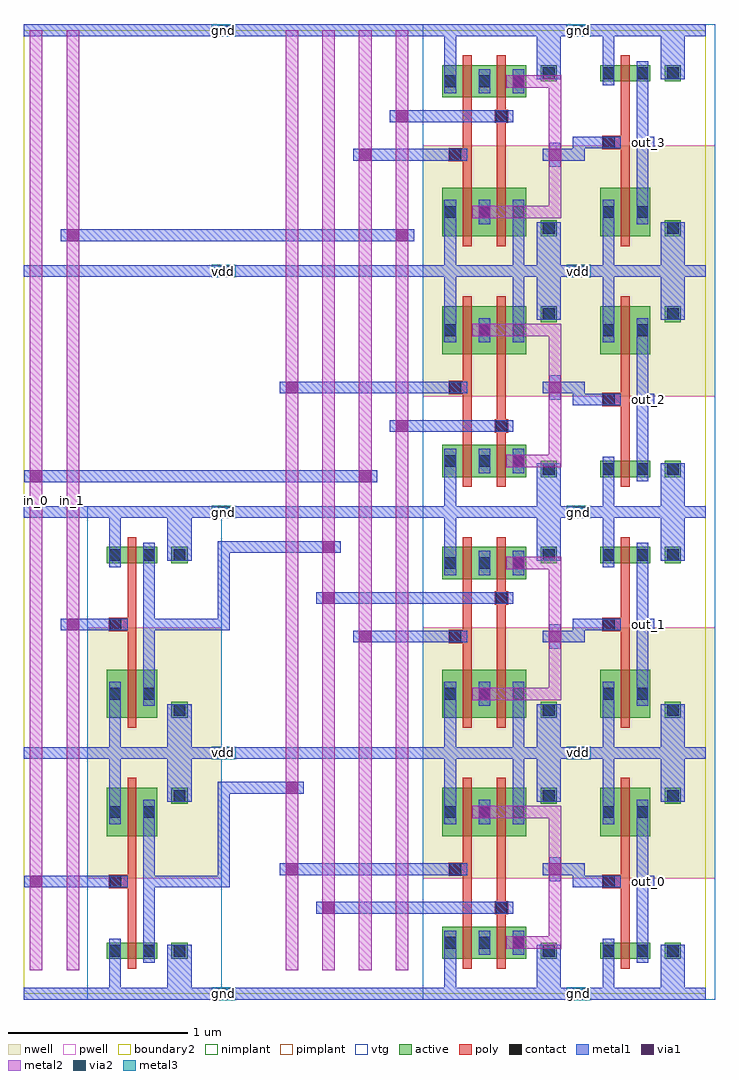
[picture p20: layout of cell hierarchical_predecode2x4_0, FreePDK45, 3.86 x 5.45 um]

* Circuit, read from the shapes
.subckt hierarchical_predecode2x4_0 gnd in_0 in_1 out_0 out_1 out_2 out_3 vdd
M1 pnand2_0_6/A in_0 gnd gnd nfet w=0.09u l=0.05u
M2 pnand2_0_6/B in_1 gnd gnd nfet w=0.09u l=0.05u
M3 pnand2_0_6/nmos_m1_w0_180_a_p_2/D pnand2_0_6/A gnd gnd nfet w=0.18u l=0.05u
M4 pnand2_0_7/nmos_m1_w0_180_a_p_2/D in_0 gnd gnd nfet w=0.18u l=0.05u
M5 pnand2_0_8/nmos_m1_w0_180_a_p_2/D pnand2_0_6/A gnd gnd nfet w=0.18u l=0.05u
M6 pnand2_0_9/nmos_m1_w0_180_a_p_2/D in_0 gnd gnd nfet w=0.18u l=0.05u
M7 pinv_0_2/A pnand2_0_6/B pnand2_0_6/nmos_m1_w0_180_a_p_2/D gnd nfet w=0.18u l=0.05u
M8 pinv_0_3/A pnand2_0_6/B pnand2_0_7/nmos_m1_w0_180_a_p_2/D gnd nfet w=0.18u l=0.05u
M9 pinv_0_4/A in_1 pnand2_0_8/nmos_m1_w0_180_a_p_2/D gnd nfet w=0.18u l=0.05u
M10 pinv_0_5/A in_1 pnand2_0_9/nmos_m1_w0_180_a_p_2/D gnd nfet w=0.18u l=0.05u
M11 out_0 pinv_0_2/A gnd gnd nfet w=0.09u l=0.05u
M12 out_1 pinv_0_3/A gnd gnd nfet w=0.09u l=0.05u
M13 out_2 pinv_0_4/A gnd gnd nfet w=0.09u l=0.05u
M14 out_3 pinv_0_5/A gnd gnd nfet w=0.09u l=0.05u
M15 pnand2_0_6/A in_0 vdd vdd pfet w=0.27u l=0.05u
M16 pnand2_0_6/B in_1 vdd vdd pfet w=0.27u l=0.05u
M17 pinv_0_2/A pnand2_0_6/A vdd vdd pfet w=0.27u l=0.05u
M18 pinv_0_3/A in_0 vdd vdd pfet w=0.27u l=0.05u
M19 pinv_0_4/A pnand2_0_6/A vdd vdd pfet w=0.27u l=0.05u
M20 pinv_0_5/A in_0 vdd vdd pfet w=0.27u l=0.05u
M21 vdd pnand2_0_6/B pinv_0_2/A vdd pfet w=0.27u l=0.05u
M22 vdd pnand2_0_6/B pinv_0_3/A vdd pfet w=0.27u l=0.05u
M23 vdd in_1 pinv_0_4/A vdd pfet w=0.27u l=0.05u
M24 vdd in_1 pinv_0_5/A vdd pfet w=0.27u l=0.05u
M25 out_0 pinv_0_2/A vdd vdd pfet w=0.27u l=0.05u
M26 out_1 pinv_0_3/A vdd vdd pfet w=0.27u l=0.05u
M27 out_2 pinv_0_4/A vdd vdd pfet w=0.27u l=0.05u
M28 out_3 pinv_0_5/A vdd vdd pfet w=0.27u l=0.05u
.ends

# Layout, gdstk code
import gdstk
lib = gdstk.Library(unit=1e-6, precision=5e-10)
def R(c, l, rs):  # rectangles x0, y0, x1, y1
    for r in rs: c.add(gdstk.rectangle(r[:2], r[2:], *l))
def A(c, l, x, y, w, h, nx, ny, dx, dy):  # array of equal rectangles
    R(c, l, [(x+i*dx, y+j*dy, x+i*dx+w, y+j*dy+h) for i in range(nx) for j in range(ny)])
active = (1, 0)
pwell = (2, 0)
nwell = (3, 0)
nimplant = (4, 0)
pimplant = (5, 0)
vtg = (6, 0)
poly = (9, 0)
contact = (10, 0)
metal1 = (11, 0)
via1 = (12, 0)
metal2 = (13, 0)
via2 = (14, 0)
metal3 = (15, 0)
boundary2 = (239, 0)

contact_11 = lib.new_cell('contact_11')
R(contact_11, active, [(0,0.0225,0.09,0.1125)])
R(contact_11, nwell, [(-0.055,-0.0325,0.145,0.1675)])
R(contact_11, pimplant, [(0,0.0225,0.09,0.1125)])
R(contact_11, contact, [(0.0125,0.035,0.0775,0.1)])
R(contact_11, metal1, [(0.0125,0,0.0775,0.135)])

pmos_m1_w0_270_a_p = lib.new_cell('pmos_m1_w0_270_a_p')
R(pmos_m1_w0_270_a_p, active, [(0,0,0.28,0.27)])
R(pmos_m1_w0_270_a_p, nwell, [(-0.055,-0.055,0.335,0.325)])
R(pmos_m1_w0_270_a_p, pimplant, [(0,0,0.28,0.27)])
R(pmos_m1_w0_270_a_p, vtg, [(-0.055,-0.055,0.335,0.325)])
R(pmos_m1_w0_270_a_p, poly, [(0.115,-0.055,0.165,0.325), (0.115,-0.055,0.165,0.325)])
R(pmos_m1_w0_270_a_p, metal1, [(0.0125,0.0675,0.0775,0.2025), (0.2025,0.0675,0.2675,0.2025)])
R(pmos_m1_w0_270_a_p, boundary2, [(-0.055,-0.055,0.335,0.325)])
pmos_m1_w0_270_a_p.add(gdstk.Reference(contact_11, (0,0.0675)))
pmos_m1_w0_270_a_p.add(gdstk.Reference(contact_11, (0.19,0.0675)))
pmos_m1_w0_270_a_p.add(gdstk.Label('G', (0.14,0.135), layer=9, texttype=0))
pmos_m1_w0_270_a_p.add(gdstk.Label('S', (0.045,0.135), layer=11, texttype=0))
pmos_m1_w0_270_a_p.add(gdstk.Label('D', (0.235,0.135), layer=11, texttype=0))

contact_16 = lib.new_cell('contact_16')
R(contact_16, active, [(0,0.0225,0.09,0.1125)])
R(contact_16, pwell, [(-0.055,-0.0325,0.145,0.1675)])
R(contact_16, nimplant, [(0,0.0225,0.09,0.1125)])
R(contact_16, contact, [(0.0125,0.035,0.0775,0.1)])
R(contact_16, metal1, [(0.0125,0,0.0775,0.135)])

nmos_m1_w0_090_a_p = lib.new_cell('nmos_m1_w0_090_a_p')
R(nmos_m1_w0_090_a_p, active, [(0,0,0.28,0.09)])
R(nmos_m1_w0_090_a_p, pwell, [(-0.055,-0.055,0.335,0.145)])
R(nmos_m1_w0_090_a_p, nimplant, [(0,0,0.28,0.09)])
R(nmos_m1_w0_090_a_p, vtg, [(-0.055,-0.055,0.335,0.145)])
R(nmos_m1_w0_090_a_p, poly, [(0.115,-0.055,0.165,0.145), (0.115,-0.055,0.165,0.145)])
R(nmos_m1_w0_090_a_p, metal1, [(0.0125,-0.0225,0.0775,0.1125), (0.2025,-0.0225,0.2675,0.1125)])
R(nmos_m1_w0_090_a_p, boundary2, [(-0.055,-0.055,0.335,0.145)])
nmos_m1_w0_090_a_p.add(gdstk.Reference(contact_16, (0,-0.0225)))
nmos_m1_w0_090_a_p.add(gdstk.Reference(contact_16, (0.19,-0.0225)))
nmos_m1_w0_090_a_p.add(gdstk.Label('G', (0.14,0.045), layer=9, texttype=0))
nmos_m1_w0_090_a_p.add(gdstk.Label('S', (0.045,0.045), layer=11, texttype=0))
nmos_m1_w0_090_a_p.add(gdstk.Label('D', (0.235,0.045), layer=11, texttype=0))

contact_13 = lib.new_cell('contact_13')
R(contact_13, active, [(0.0225,0,0.1125,0.09)])
R(contact_13, nwell, [(-0.0325,-0.055,0.1675,0.145)])
R(contact_13, nimplant, [(0.0225,0,0.1125,0.09)])
R(contact_13, contact, [(0.035,0.0125,0.1,0.0775)])
R(contact_13, metal1, [(0,0.0125,0.135,0.0775)])

contact_17 = lib.new_cell('contact_17')
R(contact_17, active, [(0.0225,0,0.1125,0.09)])
R(contact_17, pwell, [(-0.0325,-0.055,0.1675,0.145)])
R(contact_17, pimplant, [(0.0225,0,0.1125,0.09)])
R(contact_17, contact, [(0.035,0.0125,0.1,0.0775)])
R(contact_17, metal1, [(0,0.0125,0.135,0.0775)])

contact_12 = lib.new_cell('contact_12')
R(contact_12, poly, [(0.03,0,0.105,0.075)])
R(contact_12, contact, [(0.035,0.005,0.1,0.07)])
R(contact_12, metal1, [(0,0.005,0.135,0.07)])

pinv_0 = lib.new_cell('pinv_0')
R(pinv_0, pwell, [(-0.055,-0.0325,0.6975,0.645)])
R(pinv_0, nwell, [(-0.055,0.645,0.6975,1.3775)])
R(pinv_0, vtg, [(-0.055,-0.0325,0.6975,0.645), (-0.055,0.645,0.6975,1.3775)])
R(pinv_0, poly, [(0.17,0.34,0.22,0.825), (0.1025,0.59,0.17,0.665)])
R(pinv_0, metal1, [(0,-0.0325,0.6425,0.0325), (0.0675,-0.0325,0.1325,0.1725), (0.3925,0,0.5275,0.24), (0.2575,0.1725,0.3225,1.0825), (0.035,0.595,0.17,0.66), (0.29,0.595,0.355,0.66), (0.0675,0.9475,0.1325,1.3775), (0.3925,1.105,0.5275,1.345), (0,1.3125,0.6425,1.3775)])
R(pinv_0, boundary2, [(0,0,0.6425,1.345)])
pinv_0.add(gdstk.Reference(pmos_m1_w0_270_a_p, (0.055,0.88)))
pinv_0.add(gdstk.Reference(nmos_m1_w0_090_a_p, (0.055,0.195)))
pinv_0.add(gdstk.Reference(contact_13, (0.3925,1.06)))
pinv_0.add(gdstk.Reference(contact_17, (0.3925,0.195)))
pinv_0.add(gdstk.Reference(contact_12, (0.035,0.59)))
pinv_0.add(gdstk.Label('gnd', (0.321,0), layer=11, texttype=0))
pinv_0.add(gdstk.Label('vdd', (0.321,1.345), layer=11, texttype=0))
pinv_0.add(gdstk.Label('A', (0.1025,0.6275), layer=11, texttype=0))
pinv_0.add(gdstk.Label('Z', (0.3225,0.6275), layer=11, texttype=0))

nmos_m1_w0_180_a_p = lib.new_cell('nmos_m1_w0_180_a_p')
R(nmos_m1_w0_180_a_p, active, [(0,0,0.28,0.18)])
R(nmos_m1_w0_180_a_p, pwell, [(-0.055,-0.055,0.335,0.235)])
R(nmos_m1_w0_180_a_p, nimplant, [(0,0,0.28,0.18)])
R(nmos_m1_w0_180_a_p, vtg, [(-0.055,-0.055,0.335,0.235)])
R(nmos_m1_w0_180_a_p, poly, [(0.115,-0.055,0.165,0.235), (0.115,-0.055,0.165,0.235)])
R(nmos_m1_w0_180_a_p, metal1, [(0.0125,0.0225,0.0775,0.1575), (0.2025,0.0225,0.2675,0.1575)])
R(nmos_m1_w0_180_a_p, boundary2, [(-0.055,-0.055,0.335,0.235)])
nmos_m1_w0_180_a_p.add(gdstk.Reference(contact_16, (0,0.0225)))
nmos_m1_w0_180_a_p.add(gdstk.Reference(contact_16, (0.19,0.0225)))
nmos_m1_w0_180_a_p.add(gdstk.Label('G', (0.14,0.09), layer=9, texttype=0))
nmos_m1_w0_180_a_p.add(gdstk.Label('S', (0.045,0.09), layer=11, texttype=0))
nmos_m1_w0_180_a_p.add(gdstk.Label('D', (0.235,0.09), layer=11, texttype=0))

contact_20 = lib.new_cell('contact_20')
R(contact_20, metal1, [(0.035,0,0.1,0.135)])
R(contact_20, via1, [(0.035,0.035,0.1,0.1)])
R(contact_20, metal2, [(0,0.0325,0.135,0.1025)])

contact_19 = lib.new_cell('contact_19')
R(contact_19, metal1, [(0,0.035,0.135,0.1)])
R(contact_19, via1, [(0.035,0.035,0.1,0.1)])
R(contact_19, metal2, [(0.0325,0,0.1025,0.135)])

pnand2_0 = lib.new_cell('pnand2_0')
R(pnand2_0, pwell, [(-0.055,-0.0325,0.9375,0.645)])
R(pnand2_0, nwell, [(-0.055,0.645,0.9375,1.3775)])
R(pnand2_0, vtg, [(-0.055,-0.0325,0.9375,0.645), (-0.055,0.645,0.9375,1.3775)])
R(pnand2_0, poly, [(0.17,0.43,0.22,0.825), (0.36,0.43,0.41,0.825), (0.36,0.4425,0.385,0.5175), (0.1275,0.6575,0.17,0.7325)])
R(pnand2_0, metal1, [(0,-0.0325,0.8825,0.0325), (0.0675,-0.0325,0.1325,0.2175), (0.5825,0,0.7175,0.24), (0.3175,0.4475,0.4525,0.5125), (0.6525,0.6275,0.7175,0.7625), (0.06,0.6625,0.195,0.7275), (0.0675,0.9475,0.1325,1.3775), (0.4475,0.9475,0.5125,1.3775), (0.5825,1.105,0.7175,1.345), (0,1.3125,0.8825,1.3775)])
R(pnand2_0, metal2, [(0.48,0.25,0.685,0.32), (0.65,0.25,0.72,0.32), (0.65,0.285,0.72,0.695), (0.65,0.695,0.72,1.015), (0.29,0.98,0.685,1.05), (0.65,0.98,0.72,1.05)])
R(pnand2_0, boundary2, [(0,0,0.8825,1.345)])
pnand2_0.add(gdstk.Reference(pmos_m1_w0_270_a_p, (0.055,0.88)))
pnand2_0.add(gdstk.Reference(pmos_m1_w0_270_a_p, (0.245,0.88)))
pnand2_0.add(gdstk.Reference(nmos_m1_w0_180_a_p, (0.055,0.195)))
pnand2_0.add(gdstk.Reference(nmos_m1_w0_180_a_p, (0.245,0.195)))
pnand2_0.add(gdstk.Reference(contact_13, (0.5825,1.06)))
pnand2_0.add(gdstk.Reference(contact_17, (0.5825,0.195)))
pnand2_0.add(gdstk.Reference(contact_12, (0.3175,0.4425)))
pnand2_0.add(gdstk.Reference(contact_12, (0.06,0.6575)))
pnand2_0.add(gdstk.Reference(contact_20, (0.2225,0.9475)))
pnand2_0.add(gdstk.Reference(contact_20, (0.4125,0.2175)))
pnand2_0.add(gdstk.Reference(contact_19, (0.6175,0.6275)))
pnand2_0.add(gdstk.Label('gnd', (0.4415,0), layer=11, texttype=0))
pnand2_0.add(gdstk.Label('vdd', (0.4415,1.345), layer=11, texttype=0))
pnand2_0.add(gdstk.Label('B', (0.385,0.48), layer=11, texttype=0))
pnand2_0.add(gdstk.Label('A', (0.1275,0.695), layer=11, texttype=0))
pnand2_0.add(gdstk.Label('Z', (0.685,0.695), layer=11, texttype=0))

contact_7 = lib.new_cell('contact_7')
R(contact_7, metal1, [(0,0.0025,0.135,0.0675)])
R(contact_7, via1, [(0.035,0.0025,0.1,0.0675)])
R(contact_7, metal2, [(0,0,0.135,0.07)])

contact_8 = lib.new_cell('contact_8')
R(contact_8, metal2, [(0,0,0.135,0.07)])
R(contact_8, via2, [(0.035,0.0025,0.1,0.0675)])
R(contact_8, metal3, [(0,0,0.135,0.07)])

hierarchical_predecode2x = lib.new_cell('hierarchical_predecode2x4_0')
R(hierarchical_predecode2x, metal1, [(0,-0.0325,3.8075,0.0325), (1.7025,0.4475,2.6,0.5125), (0.07,0.595,0.445,0.66), (0.765,0.595,1.1175,0.66), (1.085,0.595,1.15,0.66), (3.0675,0.595,3.1325,0.66), (3.1,0.595,3.2,0.66), (3.455,0.595,3.52,0.66), (1.085,0.6275,1.15,1.15), (3.0675,0.6275,3.1325,0.695), (1.4975,0.6625,2.3425,0.7275), (3,0.6625,3.1,0.7275), (3.0675,0.6625,3.1325,0.7275), (1.085,1.1175,1.15,1.1825), (1.1175,1.1175,1.4975,1.1825), (0,1.3125,3.8075,1.3775), (0,1.3125,3.8075,1.3775), (1.9075,1.9625,2.3425,2.0275), (3,1.9625,3.1,2.0275), (3.0675,1.9625,3.1325,2.0275), (3.0675,1.995,3.1325,2.0625), (0.275,2.03,0.445,2.095), (0.765,2.03,1.1175,2.095), (1.085,2.03,1.15,2.095), (3.0675,2.03,3.1325,2.095), (3.1,2.03,3.2,2.095), (3.455,2.03,3.52,2.095), (1.085,2.0625,1.15,2.495), (1.7025,2.1775,2.6,2.2425), (1.085,2.4625,1.15,2.5275), (1.1175,2.4625,1.7025,2.5275), (0,2.6575,3.8075,2.7225), (0,2.6575,3.8075,2.7225), (0.07,2.8575,1.9075,2.9225), (2.1125,3.1375,2.6,3.2025), (3.0675,3.285,3.1325,3.35), (3.1,3.285,3.2,3.35), (3.455,3.285,3.52,3.35), (3.0675,3.3175,3.1325,3.385), (1.4975,3.3525,2.3425,3.4175), (3,3.3525,3.1,3.4175), (3.0675,3.3525,3.1325,3.4175), (0,4.0025,3.8075,4.0675), (0,4.0025,3.8075,4.0675), (0.275,4.2025,2.1125,4.2675), (1.9075,4.6525,2.3425,4.7175), (3,4.6525,3.1,4.7175), (3.0675,4.6525,3.1325,4.7175), (3.0675,4.685,3.1325,4.7525), (3.0675,4.72,3.1325,4.785), (3.1,4.72,3.2,4.785), (3.455,4.72,3.52,4.785), (2.1125,4.8675,2.6,4.9325), (0,5.3475,3.8075,5.4125)])
A(hierarchical_predecode2x, metal2, 1.4625, 0.13, 0.07, 5.25, 4, 1, 0.205, 0)
R(hierarchical_predecode2x, metal2, [(0.035,0.13,0.105,5.38), (0.24,0.13,0.31,5.38)])
A(hierarchical_predecode2x, metal3, 1.05, -0.035, 0.135, 0.07, 1, 5, 0, 1.345)
A(hierarchical_predecode2x, metal3, 3.0325, -0.035, 0.135, 0.07, 1, 5, 0, 1.345)
R(hierarchical_predecode2x, boundary2, [(0,0,3.8075,5.38)])
hierarchical_predecode2x.add(gdstk.Reference(pinv_0, (0.41,0)))
hierarchical_predecode2x.add(gdstk.Reference(pinv_0, (0.41,2.69), x_reflection=True))
hierarchical_predecode2x.add(gdstk.Reference(pinv_0, (3.165,0)))
hierarchical_predecode2x.add(gdstk.Reference(pinv_0, (3.165,2.69), x_reflection=True))
hierarchical_predecode2x.add(gdstk.Reference(pinv_0, (3.165,2.69)))
hierarchical_predecode2x.add(gdstk.Reference(pinv_0, (3.165,5.38), x_reflection=True))
hierarchical_predecode2x.add(gdstk.Reference(pnand2_0, (2.2825,0)))
hierarchical_predecode2x.add(gdstk.Reference(pnand2_0, (2.2825,2.69), x_reflection=True))
hierarchical_predecode2x.add(gdstk.Reference(pnand2_0, (2.2825,2.69)))
hierarchical_predecode2x.add(gdstk.Reference(pnand2_0, (2.2825,5.38), x_reflection=True))
hierarchical_predecode2x.add(gdstk.Reference(contact_19, (1.43,1.0825)))
hierarchical_predecode2x.add(gdstk.Reference(contact_19, (0.0025,0.56)))
hierarchical_predecode2x.add(gdstk.Reference(contact_19, (1.635,2.4275)))
hierarchical_predecode2x.add(gdstk.Reference(contact_19, (0.2075,1.995)))
hierarchical_predecode2x.add(gdstk.Reference(contact_19, (0.0025,2.8225)))
hierarchical_predecode2x.add(gdstk.Reference(contact_19, (1.84,2.8225)))
hierarchical_predecode2x.add(gdstk.Reference(contact_19, (0.2075,4.1675)))
hierarchical_predecode2x.add(gdstk.Reference(contact_19, (2.045,4.1675)))
hierarchical_predecode2x.add(gdstk.Reference(contact_19, (1.43,0.6275)))
hierarchical_predecode2x.add(gdstk.Reference(contact_19, (1.635,0.4125)))
hierarchical_predecode2x.add(gdstk.Reference(contact_19, (1.84,1.9275)))
hierarchical_predecode2x.add(gdstk.Reference(contact_19, (1.635,2.1425)))
hierarchical_predecode2x.add(gdstk.Reference(contact_19, (1.43,3.3175)))
hierarchical_predecode2x.add(gdstk.Reference(contact_19, (2.045,3.1025)))
hierarchical_predecode2x.add(gdstk.Reference(contact_19, (1.84,4.6175)))
hierarchical_predecode2x.add(gdstk.Reference(contact_19, (2.045,4.8325)))
hierarchical_predecode2x.add(gdstk.Reference(contact_7, (1.05,1.31)))
hierarchical_predecode2x.add(gdstk.Reference(contact_8, (1.05,1.31)))
hierarchical_predecode2x.add(gdstk.Reference(contact_7, (3.0325,1.31)))
hierarchical_predecode2x.add(gdstk.Reference(contact_8, (3.0325,1.31)))
hierarchical_predecode2x.add(gdstk.Reference(contact_7, (1.05,-0.035)))
hierarchical_predecode2x.add(gdstk.Reference(contact_8, (1.05,-0.035)))
hierarchical_predecode2x.add(gdstk.Reference(contact_7, (3.0325,-0.035)))
hierarchical_predecode2x.add(gdstk.Reference(contact_8, (3.0325,-0.035)))
hierarchical_predecode2x.add(gdstk.Reference(contact_7, (1.05,1.31)))
hierarchical_predecode2x.add(gdstk.Reference(contact_8, (1.05,1.31)))
hierarchical_predecode2x.add(gdstk.Reference(contact_7, (3.0325,1.31)))
hierarchical_predecode2x.add(gdstk.Reference(contact_8, (3.0325,1.31)))
hierarchical_predecode2x.add(gdstk.Reference(contact_7, (1.05,2.655)))
hierarchical_predecode2x.add(gdstk.Reference(contact_8, (1.05,2.655)))
hierarchical_predecode2x.add(gdstk.Reference(contact_7, (3.0325,2.655)))
hierarchical_predecode2x.add(gdstk.Reference(contact_8, (3.0325,2.655)))
hierarchical_predecode2x.add(gdstk.Reference(contact_7, (1.05,4)))
hierarchical_predecode2x.add(gdstk.Reference(contact_8, (1.05,4)))
hierarchical_predecode2x.add(gdstk.Reference(contact_7, (3.0325,4)))
hierarchical_predecode2x.add(gdstk.Reference(contact_8, (3.0325,4)))
hierarchical_predecode2x.add(gdstk.Reference(contact_7, (1.05,2.655)))
hierarchical_predecode2x.add(gdstk.Reference(contact_8, (1.05,2.655)))
hierarchical_predecode2x.add(gdstk.Reference(contact_7, (3.0325,2.655)))
hierarchical_predecode2x.add(gdstk.Reference(contact_8, (3.0325,2.655)))
hierarchical_predecode2x.add(gdstk.Reference(contact_7, (1.05,4)))
hierarchical_predecode2x.add(gdstk.Reference(contact_8, (1.05,4)))
hierarchical_predecode2x.add(gdstk.Reference(contact_7, (3.0325,4)))
hierarchical_predecode2x.add(gdstk.Reference(contact_8, (3.0325,4)))
hierarchical_predecode2x.add(gdstk.Reference(contact_7, (1.05,5.345)))
hierarchical_predecode2x.add(gdstk.Reference(contact_8, (1.05,5.345)))
hierarchical_predecode2x.add(gdstk.Reference(contact_7, (3.0325,5.345)))
hierarchical_predecode2x.add(gdstk.Reference(contact_8, (3.0325,5.345)))
hierarchical_predecode2x.add(gdstk.Label('in_0', (0.07,2.755), layer=13, texttype=0))
hierarchical_predecode2x.add(gdstk.Label('in_1', (0.275,2.755), layer=13, texttype=0))
hierarchical_predecode2x.add(gdstk.Label('out_0', (3.4875,0.6275), layer=11, texttype=0))
hierarchical_predecode2x.add(gdstk.Label('out_1', (3.4875,2.0625), layer=11, texttype=0))
hierarchical_predecode2x.add(gdstk.Label('out_2', (3.4875,3.3175), layer=11, texttype=0))
hierarchical_predecode2x.add(gdstk.Label('out_3', (3.4875,4.7525), layer=11, texttype=0))
hierarchical_predecode2x.add(gdstk.Label('vdd', (3.1,1.345), layer=15, texttype=0))
hierarchical_predecode2x.add(gdstk.Label('vdd', (1.1175,1.345), layer=15, texttype=0))
hierarchical_predecode2x.add(gdstk.Label('vdd', (3.1,4.035), layer=15, texttype=0))
hierarchical_predecode2x.add(gdstk.Label('vdd', (1.1175,4.035), layer=15, texttype=0))
hierarchical_predecode2x.add(gdstk.Label('gnd', (1.1175,2.69), layer=15, texttype=0))
hierarchical_predecode2x.add(gdstk.Label('gnd', (3.1,5.38), layer=15, texttype=0))
hierarchical_predecode2x.add(gdstk.Label('gnd', (1.1175,0), layer=15, texttype=0))
hierarchical_predecode2x.add(gdstk.Label('gnd', (3.1,2.69), layer=15, texttype=0))
hierarchical_predecode2x.add(gdstk.Label('gnd', (1.1175,5.38), layer=15, texttype=0))
hierarchical_predecode2x.add(gdstk.Label('gnd', (3.1,0), layer=15, texttype=0))

lib.write_gds('hierarchical_predecode2x4_0.gds')
